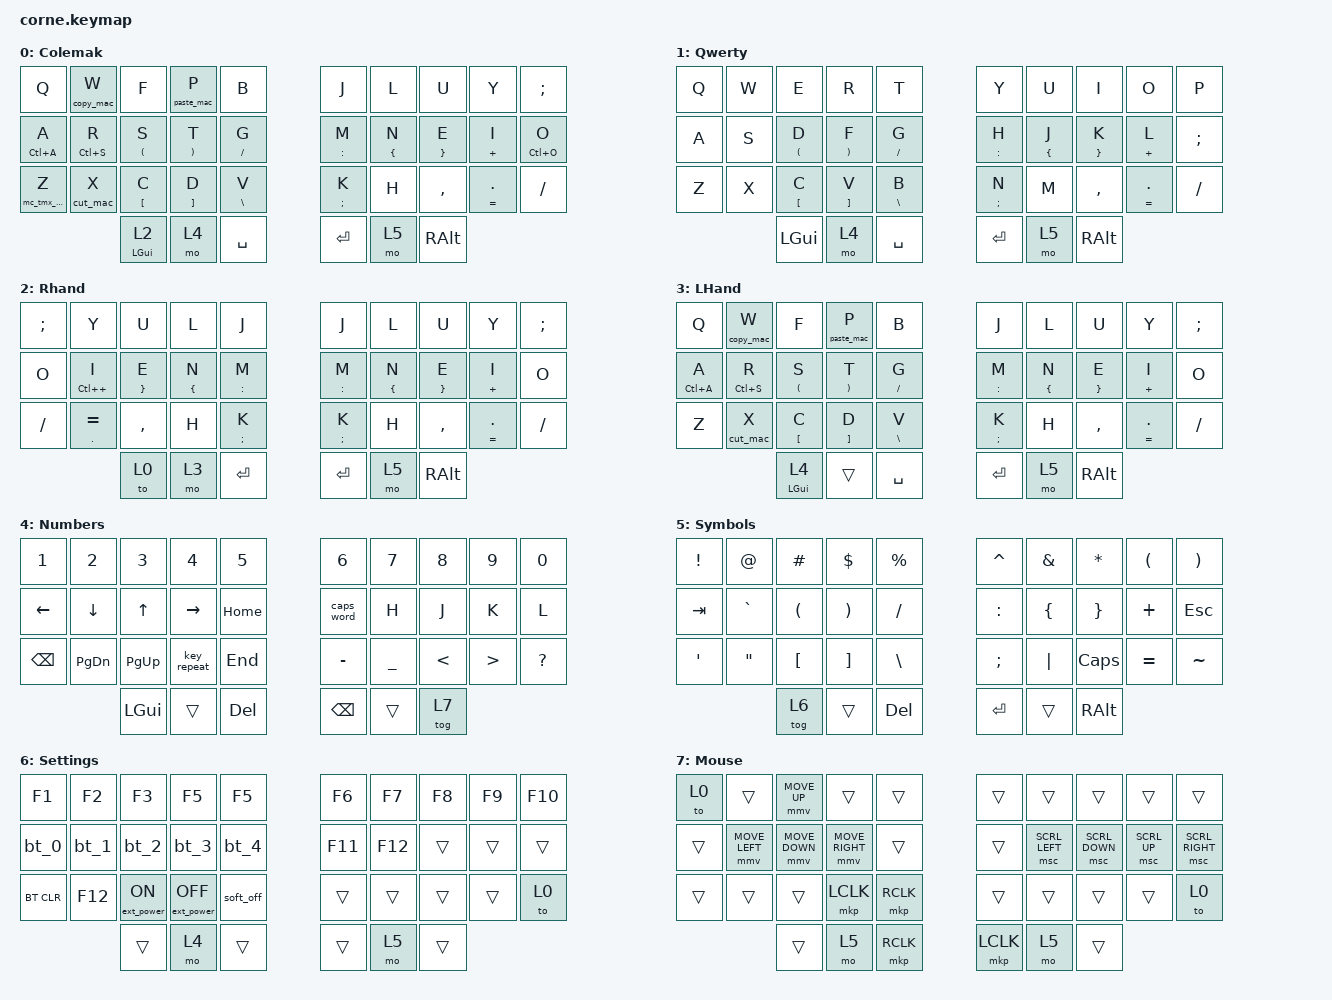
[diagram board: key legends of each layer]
/*
 * Copyright (c) 2020 The ZMK Contributors
 *
 * SPDX-License-Identifier: MIT
 */

#define ZMK_POINTING_DEFAULT_MOVE_VAL 1500  // default: 600
#define ZMK_POINTING_DEFAULT_SCRL_VAL 20    // default: 10

#include <dt-bindings/zmk/mouse.h>
#include <behaviors.dtsi>
#include <dt-bindings/zmk/bt.h>
#include <dt-bindings/zmk/ext_power.h>
#include <dt-bindings/zmk/keys.h>
#include <dt-bindings/zmk/pointing.h>

&mt {
    tapping-term-ms = <300>;
    require-prior-idle-ms = <100>;
    flavor = "tap-preferred";
};

&mmv {
    delay-ms = <0>;
    acceleration-exponent = <2>;
    time-to-max-speed-ms = <300>;
};

/ {
    behaviors {
        skq: skq {
            compatible = "zmk,behavior-sticky-key";
            label = "SKQ";
            bindings = <&kp>;
            #binding-cells = <1>;
            release-after-ms = <1000>;
            quick-release;
        };

        dt_copy: dt_copy {
            compatible = "zmk,behavior-tap-dance";
            label = "DT_COPY";
            #binding-cells = <0>;
            bindings = <&kp W>, <&copy_mac>;
        };

        dt_paste: dt_paste {
            compatible = "zmk,behavior-tap-dance";
            label = "DT_PASTE";
            #binding-cells = <0>;
            bindings = <&kp P>, <&paste_mac>;
        };

        dt_cut: dt_cut {
            compatible = "zmk,behavior-tap-dance";
            label = "DT_CUT";
            #binding-cells = <0>;
            bindings = <&kp X>, <&cut_mac>;
        };

        ht_copy_mac: ht_copy_mac {
            compatible = "zmk,behavior-hold-tap";
            label = "HT_COPY_MAC";
            bindings = <&copy_mac>, <&kp>;

            #binding-cells = <2>;
            tapping-term-ms = <200>;
            require-prior-idle-ms = <500>;
            flavor = "tap-preferred";
        };

        ht_cut_mac: ht_cut_mac {
            compatible = "zmk,behavior-hold-tap";
            label = "HT_CUT_MAC";
            bindings = <&cut_mac>, <&kp>;

            #binding-cells = <2>;
            tapping-term-ms = <200>;
            require-prior-idle-ms = <500>;
            flavor = "tap-preferred";
        };

        ht_paste_mac: ht_paste_mac {
            compatible = "zmk,behavior-hold-tap";
            label = "HT_PASTE_MAC";
            bindings = <&paste_mac>, <&kp>;

            #binding-cells = <2>;
            tapping-term-ms = <200>;
            require-prior-idle-ms = <500>;
            flavor = "tap-preferred";
        };

        hold_tap_layer: hold_tap_layer {
            compatible = "zmk,behavior-hold-tap";
            label = "HOLD_TAP_LAYER";
            bindings = <&kp>, <&tog>;

            #binding-cells = <2>;
            tapping-term-ms = <200>;
            flavor = "hold-preferred";
        };

        ht_tmx_scrl: ht_tmx_scrl {
            compatible = "zmk,behavior-hold-tap";
            label = "HT_TMX_SCRL";
            bindings = <&mc_tmx_scrl>, <&kp>;

            #binding-cells = <2>;
            tapping-term-ms = <300>;
            flavor = "tap-preferred";
            require-prior-idle-ms = <200>;
        };
    };

    combos {
        compatible = "zmk,combos";

        Shift {
            bindings = <&skq LEFT_SHIFT>;
            key-positions = <13 12>;
            timeout-ms = <200>;
            require-prior-idle-ms = <250>;
            layers = <0 1>;
        };

        Ctrl {
            bindings = <&sk LEFT_CONTROL>;
            key-positions = <11 12>;
            require-prior-idle-ms = <250>;
            timeout-ms = <200>;
            layers = <0 1>;
        };

        Alt {
            bindings = <&sk LEFT_ALT>;
            key-positions = <11 10>;
            require-prior-idle-ms = <250>;
            timeout-ms = <200>;
            layers = <0 1>;
        };

        Mod {
            bindings = <&sk LEFT_GUI>;
            key-positions = <22 23>;
            require-prior-idle-ms = <250>;
            timeout-ms = <200>;
            layers = <0 1>;
        };

        r_Alt {
            bindings = <&sk LEFT_ALT>;
            key-positions = <16 17>;
            require-prior-idle-ms = <250>;
            timeout-ms = <200>;
            layers = <0 1>;
        };

        toggle_qwerty {
            bindings = <&to 1>;
            key-positions = <31 34>;
            timeout-ms = <75>;
            require-prior-idle-ms = <350>;
            layers = <0>;
        };

        toggle_colemakdh {
            bindings = <&to 0>;
            key-positions = <31 34>;
            timeout-ms = <75>;
            require-prior-idle-ms = <350>;
            layers = <1>;
        };

        r_Ctrl {
            bindings = <&sk RIGHT_CONTROL>;
            key-positions = <17 18>;
            require-prior-idle-ms = <250>;
            timeout-ms = <200>;
            layers = <0 1>;
        };

        r_Shift {
            bindings = <&sk RIGHT_SHIFT>;
            key-positions = <18 19>;
            require-prior-idle-ms = <250>;
            timeout-ms = <200>;
            layers = <0 1>;
        };

        r_Mod {
            bindings = <&sk RIGHT_GUI>;
            key-positions = <26 27>;
            require-prior-idle-ms = <250>;
            timeout-ms = <200>;
            layers = <0 1>;
        };
    };

    macros {
        bt_0: bt_0 {
            compatible = "zmk,behavior-macro";
            #binding-cells = <0>;
            bindings = <&bt BT_SEL 0 &to 0>;
            label = "BT_0";
        };

        bt_1: bt_1 {
            compatible = "zmk,behavior-macro";
            #binding-cells = <0>;
            bindings = <&bt BT_SEL 1 &to 0>;
            label = "BT_1";
        };

        bt_2: bt_2 {
            compatible = "zmk,behavior-macro";
            #binding-cells = <0>;
            bindings = <&bt BT_SEL 2 &to 0>;
            label = "BT_2";
        };

        bt_3: bt_3 {
            compatible = "zmk,behavior-macro";
            #binding-cells = <0>;
            bindings = <&bt BT_SEL 3 &to 0>;
            label = "BT_3";
        };

        bt_4: bt_4 {
            compatible = "zmk,behavior-macro";
            #binding-cells = <0>;
            bindings = <&bt BT_SEL 4 &to 0>;
            label = "BT_4";
        };

        copy_mac: copy {
            compatible = "zmk,behavior-macro";
            #binding-cells = <0>;
            bindings = <&sk LEFT_COMMAND &kp C>;
            label = "COPY";
        };

        paste_mac: paste {
            compatible = "zmk,behavior-macro";
            #binding-cells = <0>;
            bindings = <&sk LEFT_COMMAND &kp V>;
            label = "PASTE";
        };

        cut_mac: cut_mac {
            compatible = "zmk,behavior-macro";
            #binding-cells = <0>;
            bindings = <&sk LEFT_COMMAND &kp X>;
            label = "CUT_MAC";
        };

        mc_tmx_scrl: mc_tmx_scrl {
            compatible = "zmk,behavior-macro";
            #binding-cells = <0>;
            bindings = <&sk LC(S) &kp LEFT_BRACKET>;
            label = "MC_TMX_SCRL";
        };
    };

    keymap {
        compatible = "zmk,keymap";

        colemak {
            // -----------------------------------------------------------------------------------------
            // |  TAB |  Q  |  W  |  E  |  R  |  T  |   |  Y  |  U   |  I  |  O  |  P  | BKSP |
            // | CTRL |  A  |  S  |  D  |  F  |  G  |   |  H  |  J   |  K  |  L  |  ;  |  '   |
            // | SHFT |  Z  |  X  |  C  |  V  |  B  |   |  N  |  M   |  ,  |  .  |  /  | ESC  |
            //                    | GUI | LWR | SPC |   | ENT | RSE  | ALT |

            display-name = "Colemak";
            bindings = <
&kp Q                   &ht_copy_mac 0 W  &kp F                   &ht_paste_mac 0 P        &kp B            &kp J            &kp L             &kp U              &kp Y             &kp SEMICOLON
&mt LC(A) A             &mt LC(S) R       &mt LEFT_PARENTHESIS S  &mt RIGHT_PARENTHESIS T  &mt SLASH G      &mt COLON M      &mt LEFT_BRACE N  &mt RIGHT_BRACE E  &mt PLUS I        &mt LC(O) O
&ht_tmx_scrl 0 Z        &ht_cut_mac 0 X   &mt LEFT_BRACKET C      &mt RIGHT_BRACKET D      &mt BACKSLASH V  &mt SEMICOLON K  &kp H             &kp COMMA          &mt EQUAL PERIOD  &kp FSLH
&hold_tap_layer LGUI 2  &mo 4             &kp SPACE               &kp RET                  &mo 5            &kp RALT
            >;

            label = "Colemak";
        };

        Qwerty {
            display-name = "Qwerty";
            bindings = <
&kp Q     &kp W  &kp E                   &kp R                    &kp T            &kp Y            &kp U             &kp I              &kp O             &kp P
&kp A     &kp S  &mt LEFT_PARENTHESIS D  &mt RIGHT_PARENTHESIS F  &mt SLASH G      &mt COLON H      &mt LEFT_BRACE J  &mt RIGHT_BRACE K  &mt PLUS L        &kp SEMICOLON
&kp Z     &kp X  &mt LEFT_BRACKET C      &mt RIGHT_BRACKET V      &mt BACKSLASH B  &mt SEMICOLON N  &kp M             &kp COMMA          &mt EQUAL PERIOD  &kp FSLH
&kp LGUI  &mo 4  &kp SPACE               &kp RET                  &mo 5            &kp RALT
            >;

            label = "Qwerty";
        };

        Rhand {
            label = "Rhand";
            display-name = "Rhand";
            bindings = <
&kp SEMICOLON  &kp Y             &kp U              &kp L             &kp J            &kp J            &kp L             &kp U              &kp Y             &kp SEMICOLON
&kp O          &mt LC(PLUS) I    &mt RIGHT_BRACE E  &mt LEFT_BRACE N  &mt COLON M      &mt COLON M      &mt LEFT_BRACE N  &mt RIGHT_BRACE E  &mt PLUS I        &kp O
&kp SLASH      &mt PERIOD EQUAL  &kp COMMA          &kp H             &mt SEMICOLON K  &mt SEMICOLON K  &kp H             &kp COMMA          &mt EQUAL PERIOD  &kp FSLH
&to 0          &mo 3             &kp ENTER          &kp RET           &mo 5            &kp RALT
            >;
        };

        Lhand {
            label = "Lhand";
            display-name = "LHand";
            bindings = <
&kp Q                   &ht_copy_mac 0 W  &kp F                   &ht_paste_mac 0 P        &kp B            &kp J            &kp L             &kp U              &kp Y             &kp SEMICOLON
&mt LC(A) A             &mt LC(S) R       &mt LEFT_PARENTHESIS S  &mt RIGHT_PARENTHESIS T  &mt SLASH G      &mt COLON M      &mt LEFT_BRACE N  &mt RIGHT_BRACE E  &mt PLUS I        &kp O
&kp Z                   &ht_cut_mac 0 X   &mt LEFT_BRACKET C      &mt RIGHT_BRACKET D      &mt BACKSLASH V  &mt SEMICOLON K  &kp H             &kp COMMA          &mt EQUAL PERIOD  &kp FSLH
&hold_tap_layer LGUI 4  &trans            &kp SPACE               &kp RET                  &mo 5            &kp RALT
            >;
        };

        Numbers {
            display-name = "Numbers";
            bindings = <
&kp N1         &kp N2          &kp N3        &kp N4           &kp N5    &kp N6      &kp N7          &kp N8         &kp N9  &kp N0
&kp LEFT       &kp DOWN_ARROW  &kp UP_ARROW  &kp RIGHT_ARROW  &kp HOME  &caps_word  &kp H           &kp J          &kp K   &kp L
&kp BACKSPACE  &kp PAGE_DOWN   &kp PAGE_UP   &key_repeat      &kp END   &kp MINUS   &kp UNDERSCORE  &kp LESS_THAN  &kp GT  &kp QUESTION
&kp LGUI       &trans          &kp DELETE    &kp BACKSPACE    &trans    &tog 7
            >;

            label = "Numbers";
        };

        Symbols {
            display-name = "Symbols";
            bindings = <
&kp EXCL          &kp AT             &kp HASH              &kp DLLR               &kp PRCNT      &kp CARET      &kp AMPS        &kp ASTERISK     &kp LPAR   &kp RPAR
&kp TAB           &kp GRAVE          &kp LEFT_PARENTHESIS  &kp RIGHT_PARENTHESIS  &kp SLASH      &kp COLON      &kp LEFT_BRACE  &kp RIGHT_BRACE  &kp PLUS   &kp ESCAPE
&kp SINGLE_QUOTE  &kp DOUBLE_QUOTES  &kp LEFT_BRACKET      &kp RIGHT_BRACKET      &kp BACKSLASH  &kp SEMICOLON  &kp PIPE        &kp CAPS         &kp EQUAL  &kp TILDE
&tog 6            &trans             &kp DELETE            &kp RET                &trans         &kp RALT
            >;

            label = "Symbols";
        };

        Settings {
            display-name = "Settings";
            bindings = <
&kp F1      &kp F2   &kp F3            &kp F5             &kp F5     &kp F6   &kp F7   &kp F8  &kp F9  &kp F10
&bt_0       &bt_1    &bt_2             &bt_3              &bt_4      &kp F11  &kp F12  &trans  &trans  &trans
&bt BT_CLR  &kp F12  &ext_power EP_ON  &ext_power EP_OFF  &soft_off  &trans   &trans   &trans  &trans  &to 0
&trans      &mo 4    &trans            &trans             &mo 5      &trans
            >;

            label = "Settings";
        };

        Mouse {
            bindings = <
&to 0   &trans          &mmv MOVE_UP    &trans           &trans     &trans  &trans          &trans          &trans        &trans
&trans  &mmv MOVE_LEFT  &mmv MOVE_DOWN  &mmv MOVE_RIGHT  &trans     &trans  &msc SCRL_LEFT  &msc SCRL_DOWN  &msc SCRL_UP  &msc SCRL_RIGHT
&trans  &trans          &trans          &mkp LCLK        &mkp RCLK  &trans  &trans          &trans          &trans        &to 0
&trans  &mo 5           &mkp RCLK       &mkp LCLK        &mo 5      &trans
            >;

            label = "Mouse";
        };
    };

    conditional_layers { compatible = "zmk,conditional-layers"; };
};

/* Use ZMK's Corne 5-column physical layout and its stock-position mapping. */

&{/chosen} {
    zmk,matrix-transform = &five_column_transform;
    zmk,physical-layout = &foostan_corne_5col_layout;
};
